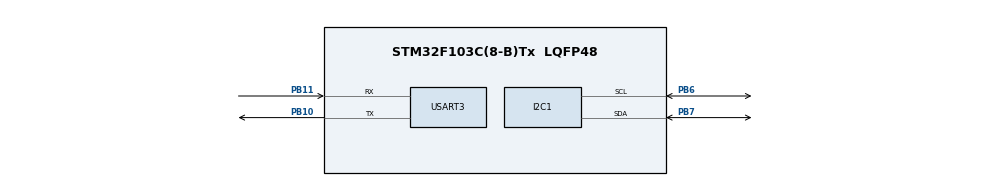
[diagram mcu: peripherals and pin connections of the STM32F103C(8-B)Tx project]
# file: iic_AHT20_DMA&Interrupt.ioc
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Dma.Request0=USART3_RX
Dma.Request1=USART3_TX
Dma.USART3_RX.0.Direction=DMA_PERIPH_TO_MEMORY
Dma.USART3_RX.0.Instance=DMA1_Channel3
Dma.USART3_RX.0.MemDataAlignment=DMA_MDATAALIGN_BYTE
Dma.USART3_RX.0.MemInc=DMA_MINC_ENABLE
Dma.USART3_RX.0.Mode=DMA_NORMAL
Dma.USART3_RX.0.PeriphDataAlignment=DMA_PDATAALIGN_BYTE
Dma.USART3_RX.0.PeriphInc=DMA_PINC_DISABLE
Dma.USART3_RX.0.Priority=DMA_PRIORITY_LOW
Dma.USART3_TX.1.Direction=DMA_MEMORY_TO_PERIPH
Dma.USART3_TX.1.Instance=DMA1_Channel2
Dma.USART3_TX.1.MemDataAlignment=DMA_MDATAALIGN_BYTE
Dma.USART3_TX.1.MemInc=DMA_MINC_ENABLE
Dma.USART3_TX.1.Mode=DMA_NORMAL
Dma.USART3_TX.1.PeriphDataAlignment=DMA_PDATAALIGN_BYTE
Dma.USART3_TX.1.PeriphInc=DMA_PINC_DISABLE
Dma.USART3_TX.1.Priority=DMA_PRIORITY_LOW
Mcu.Family=STM32F1
Mcu.Name=STM32F103C(8-B)Tx
Mcu.Package=LQFP48
NVIC.DMA1_Channel2_IRQn=true\:0\:0\:false\:false\:true\:false\:true\:true
NVIC.DMA1_Channel3_IRQn=true\:0\:0\:false\:false\:true\:false\:true\:true
NVIC.I2C1_ER_IRQn=true\:0\:0\:false\:false\:true\:true\:true\:true
NVIC.I2C1_EV_IRQn=true\:0\:0\:false\:false\:true\:true\:true\:true
NVIC.PriorityGroup=NVIC_PRIORITYGROUP_4
NVIC.USART3_IRQn=true\:0\:0\:false\:false\:true\:true\:true\:true
PA13.Mode=Serial_Wire
PA13.Signal=SYS_JTMS-SWDIO
PA14.Mode=Serial_Wire
PA14.Signal=SYS_JTCK-SWCLK
PB10.Mode=Asynchronous
PB10.Signal=USART3_TX
PB11.Mode=Asynchronous
PB11.Signal=USART3_RX
PB6.Mode=I2C
PB6.Signal=I2C1_SCL
PB7.Mode=I2C
PB7.Signal=I2C1_SDA
ProjectManager.HeapSize=0x200
ProjectManager.StackSize=0x400
ProjectManager.TargetToolchain=STM32CubeIDE
RCC.APB1Freq_Value=8000000
RCC.APB2Freq_Value=8000000
USART3.VirtualMode=VM_ASYNC
board=custom

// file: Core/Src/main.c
/* USER CODE BEGIN Header */
/**
  ******************************************************************************
  * @file           : main.c
  * @brief          : Main program body
  ******************************************************************************
  * @attention
  *
  * Copyright (c) 2026 STMicroelectronics.
  * All rights reserved.
  *
  * This software is licensed under terms that can be found in the LICENSE file
  * in the root directory of this software component.
  * If no LICENSE file comes with this software, it is provided AS-IS.
  *
  ******************************************************************************
  */
/* USER CODE END Header */
#include "main.h"
#include "dma.h"
#include "i2c.h"
#include "usart.h"
#include "gpio.h"

/* USER CODE BEGIN Includes */
#include "aht20.h"
#include "stdio.h"
#include "string.h"
/* USER CODE END Includes */

/* USER CODE BEGIN PV */
//0：初始状态 发送测量命令 1：正在发送测量命令 2：测量命令发送完成，等待75ms后读取AHT20数据
//3：读取中 4：读取完成 解析数据并展示
 uint8_t aht20State = 0;
/* USER CODE END PV */

void SystemClock_Config(void);

int main(void)
{

  /* MCU Configuration--------------------------------------------------------*/

  /* Reset of all peripherals, Initializes the Flash interface and the Systick. */
  HAL_Init();

  /* Configure the system clock */
  SystemClock_Config();

  /* Initialize all configured peripherals */
  MX_GPIO_Init();
  MX_DMA_Init();
  MX_I2C1_Init();
  MX_USART3_UART_Init();
  /* USER CODE BEGIN 2 */
  AHT20_Init();

  float humidity, temperature;//用于存放温湿度数据
  char message[50];//存放转化后的字符串
  /* USER CODE END 2 */

  /* Infinite loop */
  /* USER CODE BEGIN WHILE */
  while (1)
  {
    //状态机编程
    if (aht20State == 0)
    {
      AHT20_Measure();
      aht20State = 1;
    }
    if (aht20State == 2)
    {
      HAL_Delay(75);
      AHT20_Get();
      aht20State = 3;
    }
    if (aht20State == 4)
    {
      AHT20_Analysis(&humidity, &temperature);
      sprintf(message, "温度: %.1f ℃，湿度: %.1f %%", temperature, humidity);
      HAL_UART_Transmit(&huart3, (uint8_t *)message, strlen(message), HAL_MAX_DELAY);

      HAL_Delay(1000);
      aht20State = 0;
    }
    /* USER CODE END WHILE */

  }
}

void SystemClock_Config(void)
{
  RCC_OscInitTypeDef RCC_OscInitStruct = {0};
  RCC_ClkInitTypeDef RCC_ClkInitStruct = {0};

  /** Initializes the RCC Oscillators according to the specified parameters
  * in the RCC_OscInitTypeDef structure.
  */
  RCC_OscInitStruct.OscillatorType = RCC_OSCILLATORTYPE_HSI;
  RCC_OscInitStruct.HSIState = RCC_HSI_ON;
  RCC_OscInitStruct.HSICalibrationValue = RCC_HSICALIBRATION_DEFAULT;
  RCC_OscInitStruct.PLL.PLLState = RCC_PLL_NONE;
  if (HAL_RCC_OscConfig(&RCC_OscInitStruct) != HAL_OK)
  {
    Error_Handler();
  }

  /** Initializes the CPU, AHB and APB buses clocks
  */
  RCC_ClkInitStruct.ClockType = RCC_CLOCKTYPE_HCLK|RCC_CLOCKTYPE_SYSCLK
                              |RCC_CLOCKTYPE_PCLK1|RCC_CLOCKTYPE_PCLK2;
  RCC_ClkInitStruct.SYSCLKSource = RCC_SYSCLKSOURCE_HSI;
  RCC_ClkInitStruct.AHBCLKDivider = RCC_SYSCLK_DIV1;
  RCC_ClkInitStruct.APB1CLKDivider = RCC_HCLK_DIV1;
  RCC_ClkInitStruct.APB2CLKDivider = RCC_HCLK_DIV1;

  if (HAL_RCC_ClockConfig(&RCC_ClkInitStruct, FLASH_LATENCY_0) != HAL_OK)
  {
    Error_Handler();
  }
}

void Error_Handler(void)
{
  __disable_irq();
  while (1)
  {
  }
}
